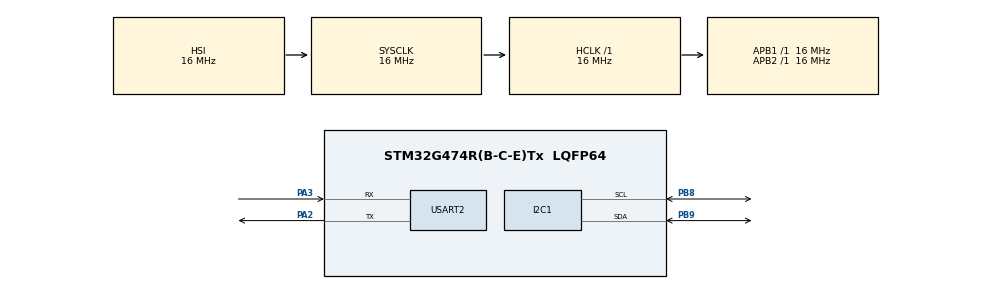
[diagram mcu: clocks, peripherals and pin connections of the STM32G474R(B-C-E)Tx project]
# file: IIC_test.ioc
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I2C1.Timing=0x00503D58
Mcu.Family=STM32G4
Mcu.Name=STM32G474R(B-C-E)Tx
Mcu.Package=LQFP64
NVIC.PriorityGroup=NVIC_PRIORITYGROUP_4
PA2.Mode=Asynchronous
PA2.Signal=USART2_TX
PA3.Mode=Asynchronous
PA3.Signal=USART2_RX
PB8-BOOT0.Mode=I2C
PB8-BOOT0.Signal=I2C1_SCL
PB9.Mode=I2C
PB9.Signal=I2C1_SDA
ProjectManager.HeapSize=0x200
ProjectManager.StackSize=0x400
ProjectManager.TargetToolchain=CMake
RCC.AHBFreq_Value=16000000
RCC.APB1Freq_Value=16000000
RCC.APB1TimFreq_Value=16000000
RCC.APB2Freq_Value=16000000
RCC.APB2TimFreq_Value=16000000
RCC.CortexFreq_Value=16000000
RCC.EXTERNAL_CLOCK_VALUE=12288000
RCC.HCLKFreq_Value=16000000
RCC.HSE_VALUE=8000000
RCC.HSI48_VALUE=48000000
RCC.HSI_VALUE=16000000
RCC.LSE_VALUE=32768
RCC.SYSCLKFreq_VALUE=16000000
RCC.USBFreq_Value=64000000
RCC.VCOOutputFreq_Value=128000000
USART2.VirtualMode-Asynchronous=VM_ASYNC
VP_SYS_VS_DBSignals.Mode=DisableDeadBatterySignals
board=custom

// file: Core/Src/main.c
/* USER CODE BEGIN Header */
/**
  ******************************************************************************
  * @file           : main.c
  * @brief          : Main program body
  ******************************************************************************
  * @attention
  *
  * Copyright (c) 2026 STMicroelectronics.
  * All rights reserved.
  *
  * This software is licensed under terms that can be found in the LICENSE file
  * in the root directory of this software component.
  * If no LICENSE file comes with this software, it is provided AS-IS.
  *
  ******************************************************************************
  */
/* USER CODE END Header */
#include "main.h"

/* USER CODE BEGIN Includes */
#include <stdio.h>
#include <string.h>
/* USER CODE END Includes */

/* USER CODE BEGIN PTD */
typedef struct {
  int16_t c0,c1;
  int32_t c00,c10;
  int16_t c01,c11,c20,c21,c30;
}SPL06_Calib;
/* USER CODE END PTD */

I2C_HandleTypeDef hi2c1;

UART_HandleTypeDef huart2;

/* USER CODE BEGIN PV */
float gx_offset = 0, gy_offset = 0, gz_offset = 0;
/* USER CODE END PV */

void SystemClock_Config(void);
static void MX_GPIO_Init(void);
static void MX_I2C1_Init(void);
static void MX_USART2_UART_Init(void);
/* USER CODE BEGIN PFP */
uint8_t SPL06_ReadID(void);
uint8_t SPL06_ReadReg(uint8_t reg);
void SPL06_ReadCoefs (uint8_t *buf);
void SPL06_WriteReg(uint8_t reg, uint8_t value);
int32_t SPL06_ReadTemp(void);
int32_t SPL06_ReadPressure(void);
SPL06_Calib SPL06_DecodeCoefs(uint8_t *coef);
float SPL06_CompTemp(int32_t T_raw, SPL06_Calib *c);
float SPL06_CompPressure(int32_t P_raw, int32_t T_raw, SPL06_Calib *c);
void AHT20_SendCmd(uint8_t cmd,uint8_t cmd1,uint8_t cmd2);
void AHT20_Init(void);
void AHT20_Read(float* temp,float* humi);
void BH1745_Read(uint16_t *r,uint16_t *g,uint16_t *b,uint16_t *c);
void BH1745_Init(void);
void BH1745_WriteReg(uint8_t reg, uint8_t value);
void BH1745_ReadBlock (uint8_t reg,uint8_t *buf);
void VL53L0X_SimpleInit(void);
uint16_t VL53L0X_SimpleGetDistance(void);
uint8_t QMI8658_ReadID(void);
void QMI8658_WriteReg(uint8_t reg, uint8_t value);
uint8_t QMI8658_ReadReg(uint8_t reg);
void QMI8658_Init(void);
void QMI8658_ReadAccel(int16_t *ax, int16_t *ay, int16_t *az);
void QMI8658_ReadGyro(int16_t *gx, int16_t *gy, int16_t *gz);
void QMI8658_CalibrateGyro(void);
/* USER CODE END PFP */

/* USER CODE BEGIN 0 */

// ─── UART 输出辅助函数 ──────────────────────────────────
// 发送一个字符串到串口助手（USART2 → ST-Link VCP）
void UART_Print(const char *str)
{
    HAL_UART_Transmit(&huart2, (uint8_t *)str, strlen(str), 100);
}

// 发送一个换行
void UART_Println(const char *str)
{
    UART_Print(str);
    UART_Print("\r\n");
}

uint8_t SPL06_ReadID() {
  if (HAL_I2C_IsDeviceReady(&hi2c1, (uint16_t)(0x77 << 1), 1, 10) == HAL_OK) {
    uint8_t ID;
    if (HAL_I2C_Mem_Read(&hi2c1,(uint16_t)(0x77<<1),0x0D,I2C_MEMADD_SIZE_8BIT,&ID,1,100)==HAL_OK)
    return ID;
    else return 0x00;
  }
  return 0x00;
}

uint8_t SPL06_ReadReg(uint8_t reg) {

    uint8_t data;
    if (HAL_I2C_Mem_Read(&hi2c1,(uint16_t)(0x77<<1),reg,I2C_MEMADD_SIZE_8BIT,&data,1,100)==HAL_OK)
      return data;
    else return 0x00;
}

void SPL06_ReadCoefs (uint8_t *buf) {
  HAL_I2C_Mem_Read(&hi2c1,(uint16_t)(0x77<<1),0X10,I2C_MEMADD_SIZE_8BIT,buf,18,100);
}

void SPL06_WriteReg(uint8_t reg, uint8_t value) {
  HAL_I2C_Mem_Write(&hi2c1,(uint16_t)(0x77<<1),reg,I2C_MEMADD_SIZE_8BIT,&value,1,100);
}

int32_t SPL06_ReadTemp(void) {
    // 命令模式触发一次温度测量
    SPL06_WriteReg(0x08, 0x02);

    // 等待 TMP_RDY (bit 5)
    uint8_t timeout = 0;
    while (((SPL06_ReadReg(0x08) & (1 << 5)) == 0) && timeout < 100) {
        HAL_Delay(2);
        timeout++;
    }

    uint8_t buf[3];
    HAL_I2C_Mem_Read(&hi2c1, (uint16_t)(0x77 << 1), 0x03,
                     I2C_MEMADD_SIZE_8BIT, buf, 3, 100);

    int32_t raw = ((int32_t)buf[0] << 16) | ((int32_t)buf[1] << 8) | buf[2];
    if (raw & (1 << 23)) {
        raw = raw - (1 << 24);
    }
    return raw;
}

int32_t SPL06_ReadPressure(void) {
    // 命令模式触发一次气压测量
    SPL06_WriteReg(0x08, 0x01);

    // 等待 PRS_RDY (bit 4)
    uint8_t timeout = 0;
    while (((SPL06_ReadReg(0x08) & (1 << 4)) == 0) && timeout < 100) {
        HAL_Delay(2);
        timeout++;
    }

    uint8_t buf[3];
    HAL_I2C_Mem_Read(&hi2c1, (uint16_t)(0x77 << 1), 0x00,
                     I2C_MEMADD_SIZE_8BIT, buf, 3, 100);

    int32_t raw = ((int32_t)buf[0] << 16) | ((int32_t)buf[1] << 8) | buf[2];
    if (raw & (1 << 23)) {
        raw = raw - (1 << 24);
    }
    return raw;
}

SPL06_Calib SPL06_DecodeCoefs(uint8_t *coef) {
  SPL06_Calib c;

  // c0: 12-bit signed → coef[0]<<4 | coef[1]>>4
  c.c0 = (int16_t)((coef[0] << 4) | (coef[1] >> 4));
  if (c.c0 & (1 << 11)) c.c0 -= (1 << 12);

  // c1: 12-bit signed → (coef[1]&0x0F)<<8 | coef[2]
  c.c1 = (int16_t)(((coef[1] & 0x0F) << 8) | coef[2]);
  if (c.c1 & (1 << 11)) c.c1 -= (1 << 12);

  // c00: 20-bit signed → coef[3]<<12 | coef[4]<<4 | coef[5]>>4
  c.c00 = (int32_t)((coef[3] << 12) | (coef[4] << 4) | (coef[5] >> 4));
  if (c.c00 & (1 << 19)) c.c00 -= (1 << 20);

  // c10: 20-bit signed → (coef[5]&0x0F)<<16 | coef[6]<<8 | coef[7]
  c.c10 = (int32_t)(((coef[5] & 0x0F) << 16) | (coef[6] << 8) | coef[7]);
  if (c.c10 & (1 << 19)) c.c10 -= (1 << 20);

  // c01: 16-bit signed → coef[8]<<8 | coef[9]
  c.c01 = (int16_t)((coef[8] << 8) | coef[9]);

  // c11: 16-bit signed → coef[10]<<8 | coef[11]
  c.c11 = (int16_t)((coef[10] << 8) | coef[11]);

  // c20: 16-bit signed → coef[12]<<8 | coef[13]
  c.c20 = (int16_t)((coef[12] << 8) | coef[13]);

  // c21: 16-bit signed → coef[14]<<8 | coef[15]
  c.c21 = (int16_t)((coef[14] << 8) | coef[15]);

  // c30: 16-bit signed → coef[16]<<8 | coef[17]
  c.c30 = (int16_t)((coef[16] << 8) | coef[17]);

  return c;
}

float SPL06_CompTemp(int32_t T_raw,SPL06_Calib *c) {
  float kT = 524288.0f;
  float T_sc =(float)T_raw/kT;
  return (float)c->c0*0.5f+ (float)c->c1 * T_sc;
}

float SPL06_CompPressure(int32_t P_raw, int32_t T_raw, SPL06_Calib *c) {
    float kP = 1572864.0f;  // 2x oversampling
    float kT = 524288.0f;   // 1x oversampling
    float P_sc = (float)P_raw / kP;
    float T_sc = (float)T_raw / kT;

    // Pcomp(Pa) = c00 + P_sc*(c10 + P_sc*(c20 + P_sc*c30))
    //           + T_sc*c01 + T_sc*P_sc*(c11 + P_sc*c21)
    float p = (float)c->c00;
    p += P_sc * ((float)c->c10 + P_sc * ((float)c->c20 + P_sc * (float)c->c30));
    p += T_sc * (float)c->c01;
    p += T_sc * P_sc * ((float)c->c11 + P_sc * (float)c->c21);
    return p;  // Pa
}

void AHT20_SendCmd(uint8_t cmd,uint8_t cmd1,uint8_t cmd2) {
  uint8_t buf[3]={cmd,cmd1,cmd2};
  HAL_I2C_Master_Transmit(&hi2c1, (uint16_t)(0x38 << 1), buf,3,100);
}

void AHT20_Init(void) {
  AHT20_SendCmd(0xBE,0x08,0x00);
  HAL_Delay(10);
}

void AHT20_Read(float* temp,float* humi) {
  AHT20_SendCmd(0xAC, 0x33, 0x00);  // 触发测量（不是 0xBE！）
  HAL_Delay(80);
  uint8_t buf[6];
  HAL_I2C_Master_Receive(&hi2c1, (uint16_t)(0x38 << 1), buf, 6, 100);
  uint32_t raw_h = ((uint32_t)buf[1] << 12) | ((uint32_t)buf[2] << 4) | (buf[3] >> 4);
  uint32_t raw_t = ((uint32_t)(buf[3] & 0x0F) << 16) | ((uint32_t)buf[4] << 8) | buf[5];
  *humi = (float)raw_h * 100.0f / 1048576.0f;
  *temp = (float)raw_t * 200.0f / 1048576.0f - 50.0f;
}

void BH1745_ReadBlock (uint8_t reg,uint8_t *buf) {
  HAL_I2C_Mem_Read(&hi2c1,(uint16_t)(0x39<<1),reg,I2C_MEMADD_SIZE_8BIT,buf,8,100);
}

void BH1745_WriteReg(uint8_t reg, uint8_t value) {
  HAL_I2C_Mem_Write(&hi2c1,(uint16_t)(0x39<<1),reg,I2C_MEMADD_SIZE_8BIT,&value,1,100);
}

void BH1745_Init(void) {
  BH1745_WriteReg(0x44,0x02);
  BH1745_WriteReg(0x41,0x00);
  BH1745_WriteReg(0x42,0x10);
}

void BH1745_Read(uint16_t *r,uint16_t *g,uint16_t *b,uint16_t *c) {
  HAL_Delay(160);
  uint8_t buf[8];
  BH1745_ReadBlock(0x50,buf);
  // 小端序：buf[n]=低字节(LSB), buf[n+1]=高字节(MSB)
  *r = ((uint16_t)buf[1] << 8) | buf[0];
  *g = ((uint16_t)buf[3] << 8) | buf[2];
  *b = ((uint16_t)buf[5] << 8) | buf[4];
  *c = ((uint16_t)buf[7] << 8) | buf[6];
}
// ─── QMI8658C IMU ─────────────────────────────────────
// 6 轴惯性测量单元（加速度计 + 陀螺仪），I2C 地址 0x6A
// 和 SPL06/BH1745 一样，有内部寄存器，用 HAL_I2C_Mem_Read/Write

uint8_t QMI8658_ReadID(void) {
    if (HAL_I2C_IsDeviceReady(&hi2c1, (uint16_t)(0x6A << 1), 1, 10) != HAL_OK)
        return 0x00;
    uint8_t id;
    if (HAL_I2C_Mem_Read(&hi2c1, (uint16_t)(0x6A << 1), 0x00,
                         I2C_MEMADD_SIZE_8BIT, &id, 1, 100) == HAL_OK)
        return id;
    return 0x00;
}

void QMI8658_WriteReg(uint8_t reg, uint8_t value) {
    HAL_I2C_Mem_Write(&hi2c1, (uint16_t)(0x6A << 1), reg,
                      I2C_MEMADD_SIZE_8BIT, &value, 1, 100);
}

uint8_t QMI8658_ReadReg(uint8_t reg) {
    uint8_t data = 0x00;
    HAL_I2C_Mem_Read(&hi2c1, (uint16_t)(0x6A << 1), reg,
                     I2C_MEMADD_SIZE_8BIT, &data, 1, 100);
    return data;
}

void QMI8658_Init(void) {
    // 1. CTRL1 (0x02) = 0x60
    //    bit6=1: 地址自动递增（方便 burst read）
    //    bit5=0: 小端序（低地址=低字节，和 BH1745/SPL06 一致）
    QMI8658_WriteReg(0x02, 0x60);

    // 2. CTRL2 (0x03) = 0x03 — 加速度计
    //    [3:0]=0011 → 6DOF 模式 ODR = 896.8Hz
    //    [6:4]=000  → 量程 ±2g（16384 LSB/g）
    QMI8658_WriteReg(0x03, 0x03);

    // 3. CTRL3 (0x04) = 0x33 — 陀螺仪
    //    [3:0]=0011 → ODR = 896.8Hz（和加速度同步）
    //    [6:4]=011  → 量程 ±128dps（256 LSB/dps）
    QMI8658_WriteReg(0x04, 0x33);

    // 4. CTRL7 (0x08) = 0x03
    //    bit0=1 → 加速度计开
    //    bit1=1 → 陀螺仪开（6 轴 IMU 模式）
    QMI8658_WriteReg(0x08, 0x03);

    // 陀螺启动时间 t1 + 3/ODR ≈ 150ms + 3ms
    HAL_Delay(160);
}

void QMI8658_ReadAccel(int16_t *ax, int16_t *ay, int16_t *az) {
    // 轮询 STATUS0 (0x2E) 的 bit0(aDA)，直到新数据就绪
    uint8_t timeout = 0;
    while (((QMI8658_ReadReg(0x2E) & 1) == 0) && timeout < 200) {
        HAL_Delay(1);
        timeout++;
    }

    // 从 0x35 连续读 6 字节：AX_L,AX_H, AY_L,AY_H, AZ_L,AZ_H
    uint8_t buf[6];
    HAL_I2C_Mem_Read(&hi2c1, (uint16_t)(0x6A << 1), 0x35,
                     I2C_MEMADD_SIZE_8BIT, buf, 6, 100);
    // 小端序：低字节在前
    *ax = (int16_t)(((uint16_t)buf[1] << 8) | buf[0]);
    *ay = (int16_t)(((uint16_t)buf[3] << 8) | buf[2]);
    *az = (int16_t)(((uint16_t)buf[5] << 8) | buf[4]);
}

void QMI8658_ReadGyro(int16_t *gx, int16_t *gy, int16_t *gz) {
    // 轮询 STATUS0 (0x2E) 的 bit1(gDA)，直到陀螺新数据就绪
    uint8_t timeout = 0;
    while (((QMI8658_ReadReg(0x2E) & (1 << 1)) == 0) && timeout < 200) {
        HAL_Delay(1);
        timeout++;
    }

    // 从 0x3B 连续读 6 字节：GX_L,GX_H, GY_L,GY_H, GZ_L,GZ_H
    uint8_t buf[6];
    HAL_I2C_Mem_Read(&hi2c1, (uint16_t)(0x6A << 1), 0x3B,
                     I2C_MEMADD_SIZE_8BIT, buf, 6, 100);
    // 小端序：低字节在前
    *gx = (int16_t)(((uint16_t)buf[1] << 8) | buf[0]);
    *gy = (int16_t)(((uint16_t)buf[3] << 8) | buf[2]);
    *gz = (int16_t)(((uint16_t)buf[5] << 8) | buf[4]);
}

// 静止校准：采 100 个样本取平均作为陀螺零偏
// 校准时必须保持传感器静止！
void QMI8658_CalibrateGyro(void) {
    float sum_x = 0, sum_y = 0, sum_z = 0;
    const int N = 100;
    for (int i = 0; i < N; i++) {
        int16_t gx, gy, gz;
        QMI8658_ReadGyro(&gx, &gy, &gz);
        sum_x += gx;
        sum_y += gy;
        sum_z += gz;
        HAL_Delay(10);  // 100 次 × 10ms = 1 秒
    }
    gx_offset = sum_x / N;
    gy_offset = sum_y / N;
    gz_offset = sum_z / N;
}

// ─── I2C 总线扫描 ──────────────────────────────────────
// 遍历 128 个 7 位地址，检查哪些地址有器件应答
// 你的传感器地址：
//   AHT20   = 0x38  (温湿度)
//   BH1745  = 0x39  (颜色)
//   VL53L0X = 0x52  (距离/ToF)
//   SPL06   = 0x77  (气压)
//   QMI8568C = 0x6A 或 0x6B (惯性/地磁, 推测值)
void I2C_BusScan(void)
{
    char msg[64];
    uint8_t found = 0;

    UART_Println("┌──────────────────────────────────┐");
    UART_Println("│     I2C Bus Scanner 开始扫描     │");
    UART_Println("├──────────────────────────────────┤");
    UART_Println("│ Addr │ 状态       │ 传感器       │");
    UART_Println("├──────┼────────────┼──────────────┤");

    for (uint8_t addr = 1; addr < 128; addr++)
    {
        // HAL_I2C_IsDeviceReady: 向地址发一个空写操作，看是否收到 ACK
        // 参数: (句柄, 7位地址左移1, 重试次数, 超时ms)
        if (HAL_I2C_IsDeviceReady(&hi2c1, (uint16_t)(addr << 1), 1, 10) == HAL_OK)
        {
            found++;
            const char *name = "未知";
            switch (addr)
            {
                case 0x38: name = "AHT20 温湿度";  break;
                case 0x39: name = "BH1745 颜色";   break;
                case 0x52: name = "VL53L0X 距离";  break;
                case 0x6A: name = "QMI8658 IMU";   break;
                case 0x6B: name = "QMI8658 IMU";   break;
                case 0x77: name = "SPL06 气压";    break;
            }
            sprintf(msg, "│ 0x%02X │ ✅ 已找到  │ %-12s │", addr, name);
            UART_Println(msg);
        }
    }

    UART_Println("├──────┴────────────┴──────────────┤");
    if (found == 0)
    {
        UART_Println("│ ⚠️  未找到任何器件！检查接线  │");
    }
    else
    {
        sprintf(msg, "│ 扫描完成，共发现 %d 个器件               │", found);
        UART_Println(msg);
    }
    UART_Println("└──────────────────────────────────┘");
}
/* USER CODE END 0 */

int main(void)
{

  /* USER CODE BEGIN 1 */

  // 在 HAL 初始化之前就点亮 LED，确认程序进入了 main
  // 如果 LED 亮了 = main() 被调用了
  RCC->AHB2ENR |= RCC_AHB2ENR_GPIOAEN;
  GPIOA->MODER &= ~GPIO_MODER_MODE5_Msk;
  GPIOA->MODER |= (1 << GPIO_MODER_MODE5_Pos);
  GPIOA->BSRR = GPIO_BSRR_BS5;   // LD2 ON
  for (volatile int i = 0; i < 1000000; i++);  // 延时等待
  GPIOA->BSRR = GPIO_BSRR_BR5;   // LD2 OFF

  /* USER CODE END 1 */

  /* MCU Configuration--------------------------------------------------------*/

  HAL_Init();
  SystemClock_Config();
  MX_GPIO_Init();
  MX_I2C1_Init();
  MX_USART2_UART_Init();
  AHT20_Init();
  BH1745_Init();
  QMI8658_Init();
  UART_Println("Gyro calibrating... keep sensor still");
  QMI8658_CalibrateGyro();
  UART_Println("Gyro calibration done!");
  UART_Println("VL53L0X initializing...");
  VL53L0X_SimpleInit();
  UART_Println("VL53L0X ready!");
  /* USER CODE BEGIN 2 */

  // ─── SPL06 校准系数 ────────────────────────────
  uint8_t coef[18];
  SPL06_ReadCoefs(coef);
  SPL06_Calib cal = SPL06_DecodeCoefs(coef);

  // 配置传感器：温度+气压
  SPL06_WriteReg(0x07, 0x80);  // TMP_CFG: 外部传感器(MEMS), 1x
  SPL06_WriteReg(0x06, 0x01);  // PRS_CFG: 2x oversampling
  HAL_Delay(10);

  UART_Println("========== Sensor Data ==========");
  /* USER CODE END 2 */

  /* Infinite loop */
  while (1)
  {

    /* USER CODE BEGIN 3 */
    HAL_GPIO_WritePin(GPIOA, GPIO_PIN_5, GPIO_PIN_SET);
    HAL_Delay(20);

    int32_t T_raw = SPL06_ReadTemp();
    int32_t P_raw = SPL06_ReadPressure();
    float temp_c = SPL06_CompTemp(T_raw, &cal);
    float press_pa = SPL06_CompPressure(P_raw, T_raw, &cal);

    char msg[128];
    sprintf(msg, "SPL06   | Temp: %.1f C  |  Press: %.1f hPa",
            (double)temp_c, (double)(press_pa / 100.0f));
    UART_Println(msg);

    char msg1[128];
    float t, h;
    AHT20_Read(&t, &h);
    sprintf(msg1, "AHT20   | Temp: %.1f C  |  Humi: %.1f %%", t, h);
    UART_Println(msg1);

    char msg2[128];
    uint16_t rgb[4];
    BH1745_Read(&rgb[0], &rgb[1], &rgb[2], &rgb[3]);
    sprintf(msg2, "BH1745  | R:%5u  G:%5u  B:%5u  C:%5u",
            rgb[0], rgb[1], rgb[2], rgb[3]);
    UART_Println(msg2);

    char msg3[64];
    uint16_t dist = VL53L0X_SimpleGetDistance();
    if (dist != 0xFFFF)
        sprintf(msg3, "VL53L0X | 距离: %u mm", dist);
    else
        sprintf(msg3, "VL53L0X | out of range");
    UART_Println(msg3);

    char msg4[128];
    int16_t ax, ay, az;
    QMI8658_ReadAccel(&ax, &ay, &az);
    sprintf(msg4, "IMU Acc | X:%+.3fg  Y:%+.3fg  Z:%+.3fg",
            ax / 16384.0f, ay / 16384.0f, az / 16384.0f);
    UART_Println(msg4);

    char msg5[128];
    int16_t gx, gy, gz;
    QMI8658_ReadGyro(&gx, &gy, &gz);
    float gx_dps = (gx - gx_offset) / 256.0f;
    float gy_dps = (gy - gy_offset) / 256.0f;
    float gz_dps = (gz - gz_offset) / 256.0f;
    sprintf(msg5, "IMU Gyr | X:%+.2fdps  Y:%+.2fdps  Z:%+.2fdps",
            gx_dps, gy_dps, gz_dps);
    UART_Println(msg5);

    UART_Println("-----------------------------------");

    HAL_GPIO_WritePin(GPIOA, GPIO_PIN_5, GPIO_PIN_RESET);
    HAL_Delay(2000);
  }
  /* USER CODE END 3 */
}

void SystemClock_Config(void)
{
  RCC_OscInitTypeDef RCC_OscInitStruct = {0};
  RCC_ClkInitTypeDef RCC_ClkInitStruct = {0};

  /** Configure the main internal regulator output voltage
  */
  HAL_PWREx_ControlVoltageScaling(PWR_REGULATOR_VOLTAGE_SCALE1);

  /** Initializes the RCC Oscillators according to the specified parameters
  * in the RCC_OscInitTypeDef structure.
  */
  RCC_OscInitStruct.OscillatorType = RCC_OSCILLATORTYPE_HSI;
  RCC_OscInitStruct.HSIState = RCC_HSI_ON;
  RCC_OscInitStruct.HSICalibrationValue = RCC_HSICALIBRATION_DEFAULT;
  RCC_OscInitStruct.PLL.PLLState = RCC_PLL_NONE;
  if (HAL_RCC_OscConfig(&RCC_OscInitStruct) != HAL_OK)
  {
    Error_Handler();
  }

  /** Initializes the CPU, AHB and APB buses clocks
  */
  RCC_ClkInitStruct.ClockType = RCC_CLOCKTYPE_HCLK|RCC_CLOCKTYPE_SYSCLK
                              |RCC_CLOCKTYPE_PCLK1|RCC_CLOCKTYPE_PCLK2;
  RCC_ClkInitStruct.SYSCLKSource = RCC_SYSCLKSOURCE_HSI;
  RCC_ClkInitStruct.AHBCLKDivider = RCC_SYSCLK_DIV1;
  RCC_ClkInitStruct.APB1CLKDivider = RCC_HCLK_DIV1;
  RCC_ClkInitStruct.APB2CLKDivider = RCC_HCLK_DIV1;

  if (HAL_RCC_ClockConfig(&RCC_ClkInitStruct, FLASH_LATENCY_0) != HAL_OK)
  {
    Error_Handler();
  }
}

static void MX_I2C1_Init(void)
{

  hi2c1.Instance = I2C1;
  hi2c1.Init.Timing = 0x00503D58;
  hi2c1.Init.OwnAddress1 = 0;
  hi2c1.Init.AddressingMode = I2C_ADDRESSINGMODE_7BIT;
  hi2c1.Init.DualAddressMode = I2C_DUALADDRESS_DISABLE;
  hi2c1.Init.OwnAddress2 = 0;
  hi2c1.Init.OwnAddress2Masks = I2C_OA2_NOMASK;
  hi2c1.Init.GeneralCallMode = I2C_GENERALCALL_DISABLE;
  hi2c1.Init.NoStretchMode = I2C_NOSTRETCH_DISABLE;
  if (HAL_I2C_Init(&hi2c1) != HAL_OK)
  {
    Error_Handler();
  }

  /** Configure Analogue filter
  */
  if (HAL_I2CEx_ConfigAnalogFilter(&hi2c1, I2C_ANALOGFILTER_ENABLE) != HAL_OK)
  {
    Error_Handler();
  }

  /** Configure Digital filter
  */
  if (HAL_I2CEx_ConfigDigitalFilter(&hi2c1, 0) != HAL_OK)
  {
    Error_Handler();
  }

}

static void MX_USART2_UART_Init(void)
{

  huart2.Instance = USART2;
  huart2.Init.BaudRate = 115200;
  huart2.Init.WordLength = UART_WORDLENGTH_8B;
  huart2.Init.StopBits = UART_STOPBITS_1;
  huart2.Init.Parity = UART_PARITY_NONE;
  huart2.Init.Mode = UART_MODE_TX_RX;
  huart2.Init.HwFlowCtl = UART_HWCONTROL_NONE;
  huart2.Init.OverSampling = UART_OVERSAMPLING_16;
  huart2.Init.OneBitSampling = UART_ONE_BIT_SAMPLE_DISABLE;
  huart2.Init.ClockPrescaler = UART_PRESCALER_DIV1;
  huart2.AdvancedInit.AdvFeatureInit = UART_ADVFEATURE_NO_INIT;
  if (HAL_UART_Init(&huart2) != HAL_OK)
  {
    Error_Handler();
  }
  if (HAL_UARTEx_SetTxFifoThreshold(&huart2, UART_TXFIFO_THRESHOLD_1_8) != HAL_OK)
  {
    Error_Handler();
  }
  if (HAL_UARTEx_SetRxFifoThreshold(&huart2, UART_RXFIFO_THRESHOLD_1_8) != HAL_OK)
  {
    Error_Handler();
  }
  if (HAL_UARTEx_DisableFifoMode(&huart2) != HAL_OK)
  {
    Error_Handler();
  }

}

static void MX_GPIO_Init(void)
{

  /* GPIO Ports Clock Enable */
  __HAL_RCC_GPIOA_CLK_ENABLE();
  __HAL_RCC_GPIOB_CLK_ENABLE();

  /* USER CODE BEGIN MX_GPIO_Init_2 */

  // 初始化 LD2 (PA5) 作为输出，用来指示程序状态
  GPIO_InitTypeDef GPIO_InitStruct = {0};
  GPIO_InitStruct.Pin = GPIO_PIN_5;
  GPIO_InitStruct.Mode = GPIO_MODE_OUTPUT_PP;
  GPIO_InitStruct.Pull = GPIO_NOPULL;
  GPIO_InitStruct.Speed = GPIO_SPEED_FREQ_LOW;
  HAL_GPIO_Init(GPIOA, &GPIO_InitStruct);

  /* USER CODE END MX_GPIO_Init_2 */
}

void Error_Handler(void)
{
  __disable_irq();
  while (1)
  {
  }
}
